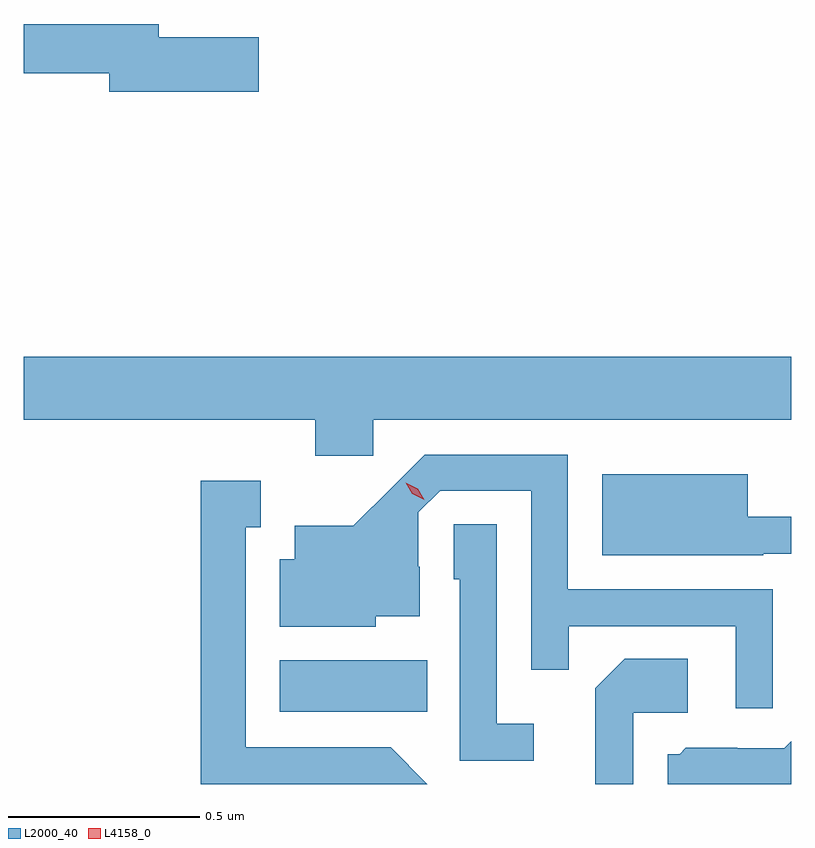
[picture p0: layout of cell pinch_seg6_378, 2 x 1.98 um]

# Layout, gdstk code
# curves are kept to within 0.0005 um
import gdstk
lib = gdstk.Library(unit=1e-6, precision=1e-09)
def R(c, l, rs):  # rectangles x0, y0, x1, y1
    for r in rs: c.add(gdstk.rectangle(r[:2], r[2:], *l))
def P(c, l, *ps):  # polygons
    for p in ps: c.add(gdstk.Polygon(p, *l))
L2000_40 = (2000, 40)
L4158_0 = (4158, 0)

pinch_seg6_378 = lib.new_cell('pinch_seg6_378')
R(pinch_seg6_378, L2000_40, [(633.764,942.578,634.148,942.712)])
P(pinch_seg6_378, L2000_40, [(633.709,944.337),(633.448,944.337),(633.448,944.371),(633.097,944.371),(633.097,944.242),(633.32,944.242),(633.32,944.195),(633.709,944.195)],
  [(634.008,943.34),(635.097,943.34),(635.097,943.504),(633.097,943.504),(633.097,943.34),(633.857,943.34),(633.857,943.245),(634.008,943.245)],
  [(635.049,942.897),(634.515,942.897),(634.515,943.248),(634.142,943.248),(633.955,943.063),(633.803,943.063),(633.803,942.976),(633.764,942.976),(633.764,942.8),(634.014,942.8),(634.014,942.827),(634.129,942.827),(634.129,942.956),(634.125,942.956),(634.125,943.098),(634.182,943.155),(634.419,943.155),(634.419,942.688),(634.517,942.688),(634.517,942.801),(634.953,942.801),(634.953,942.588),(635.049,942.588)],
  [(635.024,942.99),(635.097,942.99),(635.097,943.087),(634.984,943.087),(634.984,943.198),(634.604,943.198),(634.604,942.986),(635.024,942.986)],
  [(634.053,942.486),(633.676,942.486),(633.676,943.059),(633.715,943.059),(633.715,943.18),(633.558,943.18),(633.558,942.39),(634.149,942.39)],
  [(634.426,942.547),(634.329,942.547),(634.329,943.067),(634.218,943.067),(634.218,942.924),(634.233,942.924),(634.233,942.45),(634.426,942.45)],
  [(634.686,942.576),(634.828,942.576),(634.828,942.716),(634.663,942.716),(634.587,942.64),(634.587,942.39),(634.686,942.39)],
  [(635.097,942.501),(635.079,942.483),(634.956,942.483),(634.956,942.484),(634.822,942.484),(634.806,942.468),(634.775,942.468),(634.775,942.39),(635.097,942.39)])
P(pinch_seg6_378, L4158_0, [(634.141,943.131),(634.11,943.146),(634.092,943.175),(634.092,943.175),(634.093,943.175),(634.124,943.16),(634.141,943.131),(634.141,943.131)])

lib.write_gds('pinch_seg6_378.gds')
